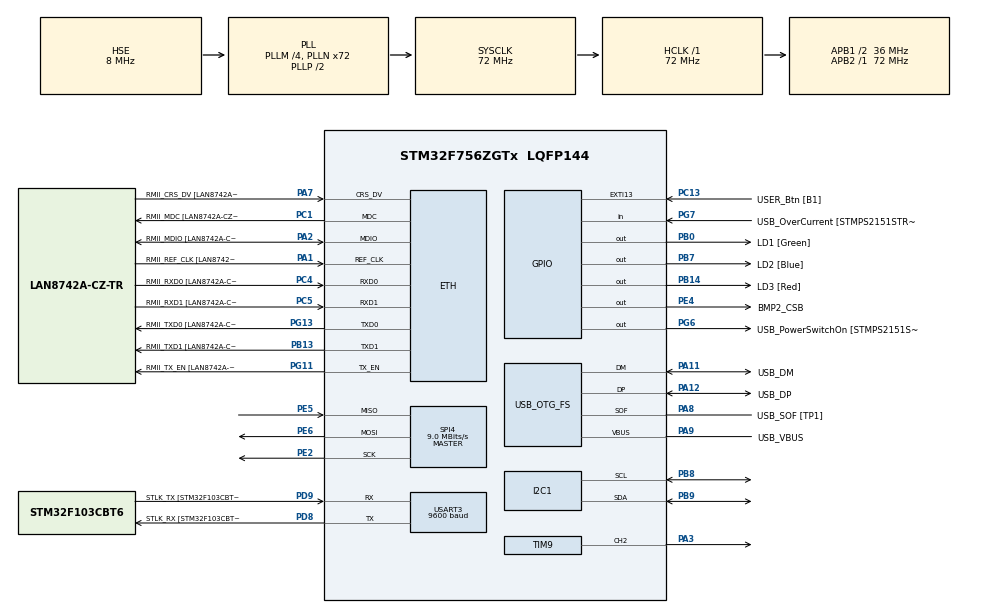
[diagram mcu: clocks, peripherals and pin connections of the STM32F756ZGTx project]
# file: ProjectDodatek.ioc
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ETH.MediaInterface=HAL_ETH_RMII_MODE
ETH.PHY_Name=LAN8742A_PHY_ADDRESS
ETH.PHY_Value=0
ETH.PhyAddress=0
I2C1.Timing=0x00808CD2
Mcu.Family=STM32F7
Mcu.Name=STM32F756ZGTx
Mcu.Package=LQFP144
NVIC.PriorityGroup=NVIC_PRIORITYGROUP_4
NVIC.TIM2_IRQn=true\:0\:0\:false\:false\:true\:true\:true\:true
NVIC.USART3_IRQn=true\:0\:0\:false\:false\:true\:true\:true\:true
PA1.GPIO_Label=RMII_REF_CLK [LAN8742A-CZ-TR_REFCLK0]
PA1.Mode=RMII
PA1.Signal=ETH_REF_CLK
PA10.GPIO_Label=USB_ID
PA10.Signal=USB_OTG_FS_ID
PA11.GPIO_Label=USB_DM
PA11.Mode=Device_Only
PA11.Signal=USB_OTG_FS_DM
PA12.GPIO_Label=USB_DP
PA12.Mode=Device_Only
PA12.Signal=USB_OTG_FS_DP
PA13.GPIO_Label=TMS
PA13.Mode=Serial_Wire
PA13.Signal=SYS_JTMS-SWDIO
PA14.GPIO_Label=TCK
PA14.Mode=Serial_Wire
PA14.Signal=SYS_JTCK-SWCLK
PA2.GPIO_Label=RMII_MDIO [LAN8742A-CZ-TR_MDIO]
PA2.Mode=RMII
PA2.Signal=ETH_MDIO
PA3.Signal=S_TIM9_CH2
PA7.GPIO_Label=RMII_CRS_DV [LAN8742A-CZ-TR_CRS_DV]
PA7.Mode=RMII
PA7.Signal=ETH_CRS_DV
PA8.GPIO_Label=USB_SOF [TP1]
PA8.Mode=Activate_SOF_FS
PA8.Signal=USB_OTG_FS_SOF
PA9.GPIO_Label=USB_VBUS
PA9.Mode=Activate_VBUS
PA9.Signal=USB_OTG_FS_VBUS
PB0.GPIO_Label=LD1 [Green]
PB0.Signal=GPIO_Output
PB13.GPIO_Label=RMII_TXD1 [LAN8742A-CZ-TR_TXD1]
PB13.Mode=RMII
PB13.Signal=ETH_TXD1
PB14.GPIO_Label=LD3 [Red]
PB14.Signal=GPIO_Output
PB3.GPIO_Label=SW0
PB3.Signal=SYS_JTDO-SWO
PB7.GPIO_Label=LD2 [Blue]
PB7.Signal=GPIO_Output
PB8.Mode=I2C
PB8.Signal=I2C1_SCL
PB9.Mode=I2C
PB9.Signal=I2C1_SDA
PC1.GPIO_Label=RMII_MDC [LAN8742A-CZ-TR_MDC]
PC1.Mode=RMII
PC1.Signal=ETH_MDC
PC13.GPIO_Label=USER_Btn [B1]
PC13.Signal=GPXTI13
PC14/OSC32_IN.Mode=LSE-External-Oscillator
PC14/OSC32_IN.Signal=RCC_OSC32_IN
PC15/OSC32_OUT.Mode=LSE-External-Oscillator
PC15/OSC32_OUT.Signal=RCC_OSC32_OUT
PC4.GPIO_Label=RMII_RXD0 [LAN8742A-CZ-TR_RXD0]
PC4.Mode=RMII
PC4.Signal=ETH_RXD0
PC5.GPIO_Label=RMII_RXD1 [LAN8742A-CZ-TR_RXD1]
PC5.Mode=RMII
PC5.Signal=ETH_RXD1
PD8.GPIO_Label=STLK_RX [STM32F103CBT6_PA3]
PD8.Mode=Asynchronous
PD8.Signal=USART3_TX
PD9.GPIO_Label=STLK_TX [STM32F103CBT6_PA2]
PD9.Mode=Asynchronous
PD9.Signal=USART3_RX
PE2.Mode=Full_Duplex_Master
PE2.Signal=SPI4_SCK
PE4.GPIO_Label=BMP2_CSB
PE4.Signal=GPIO_Output
PE5.Mode=Full_Duplex_Master
PE5.Signal=SPI4_MISO
PE6.Mode=Full_Duplex_Master
PE6.Signal=SPI4_MOSI
PG11.GPIO_Label=RMII_TX_EN [LAN8742A-CZ-TR_TXEN]
PG11.Mode=RMII
PG11.Signal=ETH_TX_EN
PG13.GPIO_Label=RMII_TXD0 [LAN8742A-CZ-TR_TXD0]
PG13.Mode=RMII
PG13.Signal=ETH_TXD0
PG6.GPIO_Label=USB_PowerSwitchOn [STMPS2151STR_EN]
PG6.Signal=GPIO_Output
PG7.GPIO_Label=USB_OverCurrent [STMPS2151STR_FAULT]
PG7.Signal=GPIO_Input
PH0/OSC_IN.GPIO_Label=MCO [STM32F103CBT6_PA8]
PH0/OSC_IN.Mode=HSE-External-Clock-Source
PH0/OSC_IN.Signal=RCC_OSC_IN
PH1/OSC_OUT.Mode=HSE-External-Clock-Source
PH1/OSC_OUT.Signal=RCC_OSC_OUT
ProjectManager.HeapSize=0x200
ProjectManager.StackSize=0x400
ProjectManager.TargetToolchain=STM32CubeIDE
RCC.48MHZClocksFreq_Value=24000000
RCC.AHBFreq_Value=72000000
RCC.APB1CLKDivider=RCC_HCLK_DIV2
RCC.APB1Freq_Value=36000000
RCC.APB1TimFreq_Value=72000000
RCC.APB2Freq_Value=72000000
RCC.APB2TimFreq_Value=72000000
RCC.CortexFreq_Value=72000000
RCC.HCLKFreq_Value=72000000
RCC.HSE_VALUE=8000000
RCC.HSI_VALUE=16000000
RCC.PLLM=4
RCC.PLLMUL=RCC_PLL_MUL9
RCC.PLLN=72
RCC.PLLQ=3
RCC.PRESCALERUSB=RCC_USBCLKSOURCE_PLL_DIV1_5
RCC.SYSCLKFreq_VALUE=72000000
RCC.SYSCLKSource=RCC_SYSCLKSOURCE_PLLCLK
RCC.SYSCLKSourceVirtual=RCC_SYSCLKSOURCE_PLLCLK
RCC.USBFreq_Value=48000000
RCC.VCOOutputFreq_Value=144000000
SH.S_TIM9_CH2.0=TIM9_CH2,PWM Generation2 CH2
SPI4.BaudRatePrescaler=SPI_BAUDRATEPRESCALER_8
SPI4.CLKPhase=SPI_PHASE_2EDGE
SPI4.CLKPolarity=SPI_POLARITY_HIGH
SPI4.CRCCalculation=SPI_CRCCALCULATION_DISABLE
SPI4.CalculateBaudRate=9.0 MBits/s
SPI4.DataSize=SPI_DATASIZE_8BIT
SPI4.Direction=SPI_DIRECTION_2LINES
SPI4.Mode=SPI_MODE_MASTER
SPI4.VirtualType=VM_MASTER
TIM2.Period=249999
TIM2.Prescaler=108
TIM9.AutoReloadPreload=TIM_AUTORELOAD_PRELOAD_DISABLE
TIM9.Channel-PWM\ Generation2\ CH2=TIM_CHANNEL_2
TIM9.Period=99
TIM9.Prescaler=107
TIM9.Pulse-PWM\ Generation2\ CH2=1
USART3.BaudRate=9600
USART3.VirtualMode-Asynchronous=VM_ASYNC
USB_OTG_FS.VirtualMode=Device_Only
VP_TIM2_VS_ClockSourceINT.Mode=Internal
VP_TIM9_VS_ClockSourceINT.Mode=Internal
board=NUCLEO-F756ZG

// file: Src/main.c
/* USER CODE BEGIN Header */
/**
 ******************************************************************************
 * @file           : main.c
 * @brief          : Main program body
 ******************************************************************************
 * @attention
 *
 * Copyright (c) 2025 STMicroelectronics.
 * All rights reserved.
 *
 * This software is licensed under terms that can be found in the LICENSE file
 * in the root directory of this software component.
 * If no LICENSE file comes with this software, it is provided AS-IS.
 *
 ******************************************************************************
 */
/* USER CODE END Header */
#include "main.h"
#include "string.h"

/* USER CODE BEGIN Includes */

#include "bmp2_config.h"
#include <string.h>
#include <stdint.h>
#include <stdio.h>
#include "heater_config.h"
#include "stdlib.h"

/* USER CODE END Includes */

#if defined ( __ICCARM__ ) /*!< IAR Compiler */
#pragma location=0x2004c000
ETH_DMADescTypeDef  DMARxDscrTab[ETH_RX_DESC_CNT]; /* Ethernet Rx DMA Descriptors */
#pragma location=0x2004c0a0
ETH_DMADescTypeDef  DMATxDscrTab[ETH_TX_DESC_CNT]; /* Ethernet Tx DMA Descriptors */

#elif defined ( __CC_ARM )  /* MDK ARM Compiler */

__attribute__((at(0x2004c000))) ETH_DMADescTypeDef  DMARxDscrTab[ETH_RX_DESC_CNT]; /* Ethernet Rx DMA Descriptors */
__attribute__((at(0x2004c0a0))) ETH_DMADescTypeDef  DMATxDscrTab[ETH_TX_DESC_CNT]; /* Ethernet Tx DMA Descriptors */

#elif defined ( __GNUC__ ) /* GNU Compiler */

ETH_DMADescTypeDef DMARxDscrTab[ETH_RX_DESC_CNT] __attribute__((section(".RxDecripSection"))); /* Ethernet Rx DMA Descriptors */
ETH_DMADescTypeDef DMATxDscrTab[ETH_TX_DESC_CNT] __attribute__((section(".TxDecripSection"))); /* Ethernet Tx DMA Descriptors */
#endif

ETH_TxPacketConfig TxConfig;

ETH_HandleTypeDef heth;

I2C_HandleTypeDef hi2c1;

SPI_HandleTypeDef hspi4;

TIM_HandleTypeDef htim2;
TIM_HandleTypeDef htim9;

UART_HandleTypeDef huart3;

PCD_HandleTypeDef hpcd_USB_OTG_FS;

/* USER CODE BEGIN PV */

double temp = 0.0f;     // [degC]
unsigned int temp_int;	// [mdegC]
double press = 0.0f;    // [hPa]

uint8_t tx_buffer[2];
const int tx_msg_len = 2;

//BMP2_config
BMP2_HandleTypeDef hbmp2 = { .SPI = &hspi4, .CS_Port = BMP2_CSB_GPIO_Port,
		.CS_Pin = BMP2_CSB_Pin, .MaxRetry = 10 };

struct bmp2_dev bmp2dev = { .intf_ptr = (void*) &hbmp2, .intf = BMP2_SPI_INTF,
		.read = bmp2_spi_read, .write = bmp2_spi_write, .delay_us =
				bmp2_delay_us };

//Heter_config
#define HEATER_PWM_INIT_HANDLE(TIMER, CHANNEL, ACTIVE_STATE)  \
  {                                                        \
    .Output = PWM_INIT_HANDLE((TIMER), CHANNEL),           \
    .ActiveState = ACTIVE_STATE                            \
  }

HEATER_PWM_Handle_TypeDef hheater =
HEATER_PWM_INIT_HANDLE(&htim9, TIM_CHANNEL_2, HEATER_ON_HIGH);

/* USER CODE END PV */

void SystemClock_Config(void);
static void MX_GPIO_Init(void);
static void MX_ETH_Init(void);
static void MX_USART3_UART_Init(void);
static void MX_USB_OTG_FS_PCD_Init(void);
static void MX_I2C1_Init(void);
static void MX_SPI4_Init(void);
static void MX_TIM2_Init(void);
static void MX_TIM9_Init(void);

/* USER CODE BEGIN 0 */
/* PID INIT*/
struct Controller {
	float Kp;
	float Ki;
	float Kd;
	float Tp;
	float N;
	float e_int;
	float prev_error;
	float d_prev;
	float e_prev;
};

float calculate_PID(struct Controller *PID, float set_temp, float meas_temp) {
	float u = 0;
	float u_sat = 0;
	float e = set_temp - meas_temp;

	/* Integral */
	PID->e_int += PID->Ki * PID->Tp * e;

	/* Derivative */
	PID->d_prev = (PID->Kd * PID->N) * (e - PID->e_prev)
			+ (1.0f - PID->N * PID->Tp) * PID->d_prev;
	PID->e_prev = e;

	/* Output */
	u = (PID->Kp * e) + PID->e_int + PID->d_prev;

	/* Saturation */
	if (u > 100)
		u_sat = 100;
	else if (u < 0)
		u_sat = 0;
	else
		u_sat = u;

	/* Anti wind-up */
	if (u != u_sat)
		PID->e_int -= PID->Ki * PID->Tp * e;

	return u_sat;
}

struct Controller PID1;

float set_temp_f = 28.0;
float pwm_duty_f;
uint16_t pwm_duty_u = 0;

void HAL_TIM_PeriodElapsedCallback(TIM_HandleTypeDef *htim) {
	if (htim == &htim2) {
		static unsigned int cnt = 0;
		cnt++;
		BMP2_ReadData(&bmp2dev, &press, &temp);

		temp_int = 1000 * temp;

//		float pwm_duty_f = (calculate_PID(&PID1, set_temp_f, temp));
//
//		// Saturation
//		if (pwm_duty_f < 0.0)
//			pwm_duty_u = 0;
//		else if (pwm_duty_f > htim9.Init.Period)
//			pwm_duty_u = htim9.Init.Period + 1;
//		else
//			pwm_duty_u = (uint16_t) pwm_duty_f;

		pwm_duty_f = (htim9.Init.Period * calculate_PID(&PID1, set_temp_f, temp));

		// Saturation
		if (pwm_duty_f < 0.0)
			pwm_duty_u = 0;
		else if (pwm_duty_f > htim9.Init.Period)
			pwm_duty_u = htim9.Init.Period;
		else
			pwm_duty_u = (uint16_t) pwm_duty_f;

		HEATER_PWM_WriteDuty(&hheater, pwm_duty_u);

		if (cnt == 4) {
			uint8_t tx_buffer[128];
			int tx_msg_len =
					sprintf((char*) tx_buffer,
							"{ \"temperature\" : %d.%03d, \"PID\" : %d  , \"Setpoint\" : %f  }\n",
							temp_int / 1000, temp_int % 1000, pwm_duty_u,
							set_temp_f);
			HAL_UART_Transmit(&huart3, tx_buffer, tx_msg_len, 100);
			cnt = 0;
		}
	}
}

void HAL_UART_RxCpltCallback(UART_HandleTypeDef *huart) {
	if (huart == &huart3) {
		//Zmiana zadanej temperatury
		int duty_cycle = strtol((char*) tx_buffer, 0, 10);

		if (duty_cycle < 25) {
			duty_cycle = 25;
		} else if (duty_cycle > 65) {
			duty_cycle = 65;
		}

		set_temp_f = duty_cycle;
//		HEATER_PWM_WriteDuty(&hheater, duty_cycle);
		HAL_UART_Receive_IT(&huart3, tx_buffer, tx_msg_len);
	}
}

/* USER CODE END 0 */

int main(void) {

	/* USER CODE BEGIN 1 */
	// Initialize PID Controller parameters and init data
	PID1.Kp = 0.040065189914464;
	PID1.Ki = 0.000367191052565128;
	PID1.Kd = 0.32624717337489;
	PID1.Tp = 1;
//	PID1.N = 0.01f;
	PID1.prev_error = 0;
	PID1.d_prev = 0;
	PID1.e_prev = 0;
	/* USER CODE END 1 */

	/* MCU Configuration--------------------------------------------------------*/

	/* Reset of all peripherals, Initializes the Flash interface and the Systick. */
	HAL_Init();

	/* Configure the system clock */
	SystemClock_Config();

	/* Initialize all configured peripherals */
	MX_GPIO_Init();
	MX_ETH_Init();
	MX_USART3_UART_Init();
	MX_USB_OTG_FS_PCD_Init();
	MX_I2C1_Init();
	MX_SPI4_Init();
	MX_TIM2_Init();
	MX_TIM9_Init();
	/* USER CODE BEGIN 2 */
	/*BMP280 CONFIGURATION*/
	BMP2_Init(&bmp2dev);
	HEATER_PWM_Init(&hheater);
	HAL_TIM_Base_Start_IT(&htim2);
	HAL_UART_Receive_IT(&huart3, tx_buffer, tx_msg_len);

	/* USER CODE END 2 */

	/* Infinite loop */
	while (1) {

	}
}

void SystemClock_Config(void) {
	RCC_OscInitTypeDef RCC_OscInitStruct = { 0 };
	RCC_ClkInitTypeDef RCC_ClkInitStruct = { 0 };

	/** Configure LSE Drive Capability
	 */
	HAL_PWR_EnableBkUpAccess();

	/** Configure the main internal regulator output voltage
	 */
	__HAL_RCC_PWR_CLK_ENABLE();
	__HAL_PWR_VOLTAGESCALING_CONFIG(PWR_REGULATOR_VOLTAGE_SCALE3);

	/** Initializes the RCC Oscillators according to the specified parameters
	 * in the RCC_OscInitTypeDef structure.
	 */
	RCC_OscInitStruct.OscillatorType = RCC_OSCILLATORTYPE_HSE;
	RCC_OscInitStruct.HSEState = RCC_HSE_BYPASS;
	RCC_OscInitStruct.PLL.PLLState = RCC_PLL_ON;
	RCC_OscInitStruct.PLL.PLLSource = RCC_PLLSOURCE_HSE;
	RCC_OscInitStruct.PLL.PLLM = 4;
	RCC_OscInitStruct.PLL.PLLN = 72;
	RCC_OscInitStruct.PLL.PLLP = RCC_PLLP_DIV2;
	RCC_OscInitStruct.PLL.PLLQ = 3;
	if (HAL_RCC_OscConfig(&RCC_OscInitStruct) != HAL_OK) {
		Error_Handler();
	}

	/** Initializes the CPU, AHB and APB buses clocks
	 */
	RCC_ClkInitStruct.ClockType = RCC_CLOCKTYPE_HCLK | RCC_CLOCKTYPE_SYSCLK
			| RCC_CLOCKTYPE_PCLK1 | RCC_CLOCKTYPE_PCLK2;
	RCC_ClkInitStruct.SYSCLKSource = RCC_SYSCLKSOURCE_PLLCLK;
	RCC_ClkInitStruct.AHBCLKDivider = RCC_SYSCLK_DIV1;
	RCC_ClkInitStruct.APB1CLKDivider = RCC_HCLK_DIV2;
	RCC_ClkInitStruct.APB2CLKDivider = RCC_HCLK_DIV1;

	if (HAL_RCC_ClockConfig(&RCC_ClkInitStruct, FLASH_LATENCY_2) != HAL_OK) {
		Error_Handler();
	}
}

static void MX_ETH_Init(void) {

	static uint8_t MACAddr[6];

	heth.Instance = ETH;
	MACAddr[0] = 0x00;
	MACAddr[1] = 0x80;
	MACAddr[2] = 0xE1;
	MACAddr[3] = 0x00;
	MACAddr[4] = 0x00;
	MACAddr[5] = 0x00;
	heth.Init.MACAddr = &MACAddr[0];
	heth.Init.MediaInterface = HAL_ETH_RMII_MODE;
	heth.Init.TxDesc = DMATxDscrTab;
	heth.Init.RxDesc = DMARxDscrTab;
	heth.Init.RxBuffLen = 1524;

	if (HAL_ETH_Init(&heth) != HAL_OK) {
		Error_Handler();
	}

	memset(&TxConfig, 0, sizeof(ETH_TxPacketConfig));
	TxConfig.Attributes = ETH_TX_PACKETS_FEATURES_CSUM
			| ETH_TX_PACKETS_FEATURES_CRCPAD;
	TxConfig.ChecksumCtrl = ETH_CHECKSUM_IPHDR_PAYLOAD_INSERT_PHDR_CALC;
	TxConfig.CRCPadCtrl = ETH_CRC_PAD_INSERT;

}

static void MX_I2C1_Init(void) {

	hi2c1.Instance = I2C1;
	hi2c1.Init.Timing = 0x00808CD2;
	hi2c1.Init.OwnAddress1 = 0;
	hi2c1.Init.AddressingMode = I2C_ADDRESSINGMODE_7BIT;
	hi2c1.Init.DualAddressMode = I2C_DUALADDRESS_DISABLE;
	hi2c1.Init.OwnAddress2 = 0;
	hi2c1.Init.OwnAddress2Masks = I2C_OA2_NOMASK;
	hi2c1.Init.GeneralCallMode = I2C_GENERALCALL_DISABLE;
	hi2c1.Init.NoStretchMode = I2C_NOSTRETCH_DISABLE;
	if (HAL_I2C_Init(&hi2c1) != HAL_OK) {
		Error_Handler();
	}

	/** Configure Analogue filter
	 */
	if (HAL_I2CEx_ConfigAnalogFilter(&hi2c1, I2C_ANALOGFILTER_ENABLE)
			!= HAL_OK) {
		Error_Handler();
	}

	/** Configure Digital filter
	 */
	if (HAL_I2CEx_ConfigDigitalFilter(&hi2c1, 0) != HAL_OK) {
		Error_Handler();
	}

}

static void MX_SPI4_Init(void) {

	/* SPI4 parameter configuration*/
	hspi4.Instance = SPI4;
	hspi4.Init.Mode = SPI_MODE_MASTER;
	hspi4.Init.Direction = SPI_DIRECTION_2LINES;
	hspi4.Init.DataSize = SPI_DATASIZE_8BIT;
	hspi4.Init.CLKPolarity = SPI_POLARITY_HIGH;
	hspi4.Init.CLKPhase = SPI_PHASE_2EDGE;
	hspi4.Init.NSS = SPI_NSS_SOFT;
	hspi4.Init.BaudRatePrescaler = SPI_BAUDRATEPRESCALER_8;
	hspi4.Init.FirstBit = SPI_FIRSTBIT_MSB;
	hspi4.Init.TIMode = SPI_TIMODE_DISABLE;
	hspi4.Init.CRCCalculation = SPI_CRCCALCULATION_DISABLE;
	hspi4.Init.CRCPolynomial = 7;
	hspi4.Init.CRCLength = SPI_CRC_LENGTH_DATASIZE;
	hspi4.Init.NSSPMode = SPI_NSS_PULSE_DISABLE;
	if (HAL_SPI_Init(&hspi4) != HAL_OK) {
		Error_Handler();
	}

}

static void MX_TIM2_Init(void) {

	TIM_ClockConfigTypeDef sClockSourceConfig = { 0 };
	TIM_MasterConfigTypeDef sMasterConfig = { 0 };

	htim2.Instance = TIM2;
	htim2.Init.Prescaler = 108;
	htim2.Init.CounterMode = TIM_COUNTERMODE_UP;
	htim2.Init.Period = 249999;
	htim2.Init.ClockDivision = TIM_CLOCKDIVISION_DIV1;
	htim2.Init.AutoReloadPreload = TIM_AUTORELOAD_PRELOAD_DISABLE;
	if (HAL_TIM_Base_Init(&htim2) != HAL_OK) {
		Error_Handler();
	}
	sClockSourceConfig.ClockSource = TIM_CLOCKSOURCE_INTERNAL;
	if (HAL_TIM_ConfigClockSource(&htim2, &sClockSourceConfig) != HAL_OK) {
		Error_Handler();
	}
	sMasterConfig.MasterOutputTrigger = TIM_TRGO_RESET;
	sMasterConfig.MasterSlaveMode = TIM_MASTERSLAVEMODE_DISABLE;
	if (HAL_TIMEx_MasterConfigSynchronization(&htim2, &sMasterConfig)
			!= HAL_OK) {
		Error_Handler();
	}

}

static void MX_TIM9_Init(void) {

	TIM_ClockConfigTypeDef sClockSourceConfig = { 0 };
	TIM_OC_InitTypeDef sConfigOC = { 0 };

	htim9.Instance = TIM9;
	htim9.Init.Prescaler = 107;
	htim9.Init.CounterMode = TIM_COUNTERMODE_UP;
	htim9.Init.Period = 99;
	htim9.Init.ClockDivision = TIM_CLOCKDIVISION_DIV1;
	htim9.Init.AutoReloadPreload = TIM_AUTORELOAD_PRELOAD_DISABLE;
	if (HAL_TIM_Base_Init(&htim9) != HAL_OK) {
		Error_Handler();
	}
	sClockSourceConfig.ClockSource = TIM_CLOCKSOURCE_INTERNAL;
	if (HAL_TIM_ConfigClockSource(&htim9, &sClockSourceConfig) != HAL_OK) {
		Error_Handler();
	}
	if (HAL_TIM_PWM_Init(&htim9) != HAL_OK) {
		Error_Handler();
	}
	sConfigOC.OCMode = TIM_OCMODE_PWM1;
	sConfigOC.Pulse = 1;
	sConfigOC.OCPolarity = TIM_OCPOLARITY_HIGH;
	sConfigOC.OCFastMode = TIM_OCFAST_DISABLE;
	if (HAL_TIM_PWM_ConfigChannel(&htim9, &sConfigOC, TIM_CHANNEL_2)
			!= HAL_OK) {
		Error_Handler();
	}
	HAL_TIM_MspPostInit(&htim9);

}

static void MX_USART3_UART_Init(void) {

	huart3.Instance = USART3;
	huart3.Init.BaudRate = 9600;
	huart3.Init.WordLength = UART_WORDLENGTH_8B;
	huart3.Init.StopBits = UART_STOPBITS_1;
	huart3.Init.Parity = UART_PARITY_NONE;
	huart3.Init.Mode = UART_MODE_TX_RX;
	huart3.Init.HwFlowCtl = UART_HWCONTROL_NONE;
	huart3.Init.OverSampling = UART_OVERSAMPLING_16;
	huart3.Init.OneBitSampling = UART_ONE_BIT_SAMPLE_DISABLE;
	huart3.AdvancedInit.AdvFeatureInit = UART_ADVFEATURE_NO_INIT;
	if (HAL_UART_Init(&huart3) != HAL_OK) {
		Error_Handler();
	}

}

static void MX_USB_OTG_FS_PCD_Init(void) {

	hpcd_USB_OTG_FS.Instance = USB_OTG_FS;
	hpcd_USB_OTG_FS.Init.dev_endpoints = 6;
	hpcd_USB_OTG_FS.Init.speed = PCD_SPEED_FULL;
	hpcd_USB_OTG_FS.Init.dma_enable = DISABLE;
	hpcd_USB_OTG_FS.Init.phy_itface = PCD_PHY_EMBEDDED;
	hpcd_USB_OTG_FS.Init.Sof_enable = ENABLE;
	hpcd_USB_OTG_FS.Init.low_power_enable = DISABLE;
	hpcd_USB_OTG_FS.Init.lpm_enable = DISABLE;
	hpcd_USB_OTG_FS.Init.vbus_sensing_enable = ENABLE;
	hpcd_USB_OTG_FS.Init.use_dedicated_ep1 = DISABLE;
	if (HAL_PCD_Init(&hpcd_USB_OTG_FS) != HAL_OK) {
		Error_Handler();
	}

}

static void MX_GPIO_Init(void) {
	GPIO_InitTypeDef GPIO_InitStruct = { 0 };

	/* GPIO Ports Clock Enable */
	__HAL_RCC_GPIOE_CLK_ENABLE();
	__HAL_RCC_GPIOC_CLK_ENABLE();
	__HAL_RCC_GPIOH_CLK_ENABLE();
	__HAL_RCC_GPIOA_CLK_ENABLE();
	__HAL_RCC_GPIOB_CLK_ENABLE();
	__HAL_RCC_GPIOD_CLK_ENABLE();
	__HAL_RCC_GPIOG_CLK_ENABLE();

	/*Configure GPIO pin Output Level */
	HAL_GPIO_WritePin(BMP2_CSB_GPIO_Port, BMP2_CSB_Pin, GPIO_PIN_RESET);

	/*Configure GPIO pin Output Level */
	HAL_GPIO_WritePin(GPIOB, LD1_Pin | LD3_Pin | LD2_Pin, GPIO_PIN_RESET);

	/*Configure GPIO pin Output Level */
	HAL_GPIO_WritePin(USB_PowerSwitchOn_GPIO_Port, USB_PowerSwitchOn_Pin,
			GPIO_PIN_RESET);

	/*Configure GPIO pin : BMP2_CSB_Pin */
	GPIO_InitStruct.Pin = BMP2_CSB_Pin;
	GPIO_InitStruct.Mode = GPIO_MODE_OUTPUT_PP;
	GPIO_InitStruct.Pull = GPIO_NOPULL;
	GPIO_InitStruct.Speed = GPIO_SPEED_FREQ_LOW;
	HAL_GPIO_Init(BMP2_CSB_GPIO_Port, &GPIO_InitStruct);

	/*Configure GPIO pin : USER_Btn_Pin */
	GPIO_InitStruct.Pin = USER_Btn_Pin;
	GPIO_InitStruct.Mode = GPIO_MODE_IT_RISING;
	GPIO_InitStruct.Pull = GPIO_NOPULL;
	HAL_GPIO_Init(USER_Btn_GPIO_Port, &GPIO_InitStruct);

	/*Configure GPIO pins : LD1_Pin LD3_Pin LD2_Pin */
	GPIO_InitStruct.Pin = LD1_Pin | LD3_Pin | LD2_Pin;
	GPIO_InitStruct.Mode = GPIO_MODE_OUTPUT_PP;
	GPIO_InitStruct.Pull = GPIO_NOPULL;
	GPIO_InitStruct.Speed = GPIO_SPEED_FREQ_LOW;
	HAL_GPIO_Init(GPIOB, &GPIO_InitStruct);

	/*Configure GPIO pin : USB_PowerSwitchOn_Pin */
	GPIO_InitStruct.Pin = USB_PowerSwitchOn_Pin;
	GPIO_InitStruct.Mode = GPIO_MODE_OUTPUT_PP;
	GPIO_InitStruct.Pull = GPIO_NOPULL;
	GPIO_InitStruct.Speed = GPIO_SPEED_FREQ_LOW;
	HAL_GPIO_Init(USB_PowerSwitchOn_GPIO_Port, &GPIO_InitStruct);

	/*Configure GPIO pin : USB_OverCurrent_Pin */
	GPIO_InitStruct.Pin = USB_OverCurrent_Pin;
	GPIO_InitStruct.Mode = GPIO_MODE_INPUT;
	GPIO_InitStruct.Pull = GPIO_NOPULL;
	HAL_GPIO_Init(USB_OverCurrent_GPIO_Port, &GPIO_InitStruct);

}

void Error_Handler(void) {
	__disable_irq();
	while (1) {
	}
}
